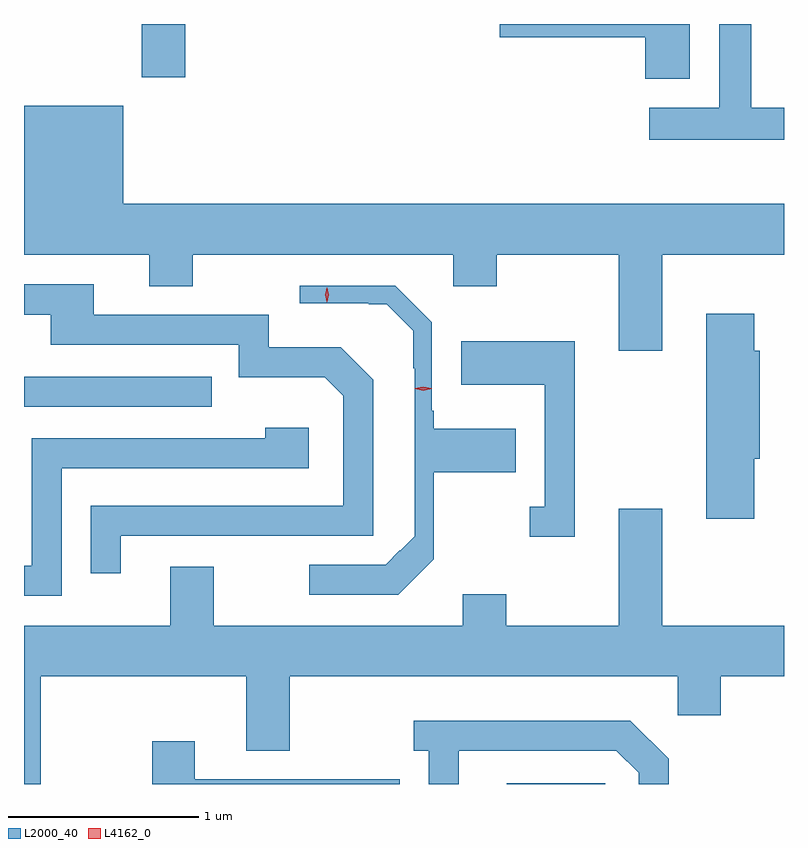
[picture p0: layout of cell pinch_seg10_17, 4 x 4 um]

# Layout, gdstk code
import gdstk
lib = gdstk.Library(unit=1e-6, precision=1e-09)
def R(c, l, rs):  # rectangles x0, y0, x1, y1
    for r in rs: c.add(gdstk.rectangle(r[:2], r[2:], *l))
def P(c, l, *ps):  # polygons
    for p in ps: c.add(gdstk.Polygon(p, *l))
L2000_40 = (2000, 40)
L4162_0 = (4162, 0)

pinch_seg10_17 = lib.new_cell('pinch_seg10_17')
R(pinch_seg10_17, L2000_40, [(658.933,2104.47,659.449,2104.474), (656.391,2106.456,657.378,2106.614), (657.011,2108.191,657.239,2108.47)])
P(pinch_seg10_17, L2000_40, [(659.894,2108.47),(658.896,2108.47),(658.896,2108.401),(659.661,2108.401),(659.661,2108.181),(659.894,2108.181)],
  [(660.391,2108.029),(660.219,2108.029),(660.219,2108.47),(660.051,2108.47),(660.051,2108.029),(659.683,2108.029),(659.683,2107.861),(660.391,2107.861)],
  [(659.749,2107.256),(660.391,2107.256),(660.391,2107.524),(656.914,2107.524),(656.914,2108.039),(656.391,2108.039),(656.391,2107.256),(657.051,2107.256),(657.051,2107.091),(657.279,2107.091),(657.279,2107.256),(658.651,2107.256),(658.651,2107.091),(658.879,2107.091),(658.879,2107.256),(659.521,2107.256),(659.521,2106.751),(659.749,2106.751)],
  [(656.899,2105.776),(658.229,2105.776),(658.229,2106.597),(658.057,2106.769),(657.679,2106.769),(657.679,2106.939),(656.759,2106.939),(656.759,2107.099),(656.391,2107.099),(656.391,2106.941),(656.531,2106.941),(656.531,2106.781),(657.521,2106.781),(657.521,2106.611),(657.974,2106.611),(658.071,2106.514),(658.071,2105.934),(656.741,2105.934),(656.741,2105.578),(656.899,2105.578)],
  [(658.547,2105.652),(658.547,2106.111),(658.979,2106.111),(658.979,2106.339),(658.547,2106.339),(658.547,2106.435),(658.537,2106.435),(658.537,2106.901),(658.346,2107.092),(657.843,2107.092),(657.843,2107),(658.205,2107),(658.205,2106.994),(658.301,2106.994),(658.44,2106.855),(658.44,2106.659),(658.447,2106.659),(658.447,2105.774),(658.371,2105.698),(658.369,2105.7),(658.294,2105.624),(657.893,2105.624),(657.893,2105.466),(658.362,2105.466)],
  [(660.234,2106.181),(660.264,2106.181),(660.264,2106.749),(660.234,2106.749),(660.234,2106.944),(659.981,2106.944),(659.981,2105.866),(660.234,2105.866)],
  [(659.289,2106.799),(658.691,2106.799),(658.691,2106.571),(659.131,2106.571),(659.131,2105.929),(659.053,2105.929),(659.053,2105.771),(659.289,2105.771)],
  [(656.589,2106.131),(657.889,2106.131),(657.889,2106.344),(657.661,2106.344),(657.661,2106.289),(656.431,2106.289),(656.431,2105.619),(656.391,2105.619),(656.391,2105.461),(656.589,2105.461)],
  [(656.479,2105.036),(657.561,2105.036),(657.561,2104.646),(657.789,2104.646),(657.789,2105.036),(659.831,2105.036),(659.831,2104.831),(660.059,2104.831),(660.059,2105.036),(660.391,2105.036),(660.391,2105.304),(659.749,2105.304),(659.749,2105.919),(659.521,2105.919),(659.521,2105.304),(658.929,2105.304),(658.929,2105.469),(658.701,2105.469),(658.701,2105.304),(657.389,2105.304),(657.389,2105.614),(657.161,2105.614),(657.161,2105.304),(656.391,2105.304),(656.391,2104.47),(656.479,2104.47)],
  [(658.679,2104.646),(659.509,2104.646),(659.626,2104.529),(659.626,2104.47),(659.784,2104.47),(659.784,2104.602),(659.582,2104.804),(658.443,2104.804),(658.443,2104.646),(658.521,2104.646),(658.521,2104.47),(658.679,2104.47)],
  [(658.369,2104.494),(657.289,2104.494),(657.289,2104.694),(657.066,2104.694),(657.066,2104.47),(658.369,2104.47)])
P(pinch_seg10_17, L4162_0, [(657.985,2107.006),(657.985,2107.007),(657.976,2107.045),(657.985,2107.083),(657.986,2107.083),(657.986,2107.083),(657.995,2107.045),(657.986,2107.007)],
  [(658.492,2106.541),(658.448,2106.551),(658.447,2106.551),(658.448,2106.552),(658.492,2106.561),(658.537,2106.552),(658.538,2106.551),(658.537,2106.551)])

lib.write_gds('pinch_seg10_17.gds')
